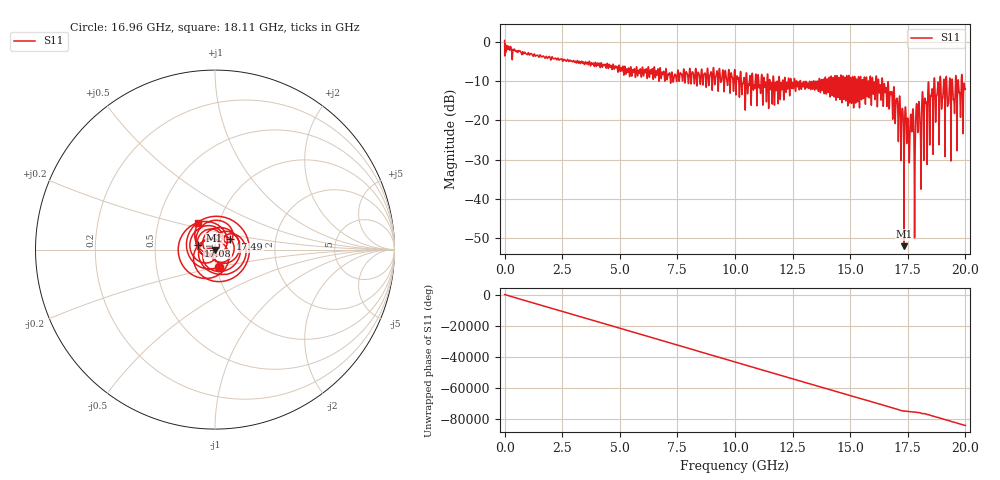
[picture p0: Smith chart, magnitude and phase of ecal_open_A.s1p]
! MS46122B
! 2250307/22442219
! 7/21/2025 12:02:15 PM
! C:\USERS\SPARKY\DOCUMENTS\VNA_DATA\JULY21_2025\295K\ECAL_OPEN_A.S1P
! CHANNEL.1
! TR.MEASUREMENT
! RAW.DATA
# GHZ S RI R 50.0
! FREQ.GHZ  S11RE  S11IM
!; PortSelection: Port_1
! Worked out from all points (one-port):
!   10001 points, 1 MHz to 20 GHz, reference 50 ohm
!   lowest |S11| = -52.1 dB at 17.34 GHz (marker M1), VSWR 1.00, Z = 49.8 - j0.13 ohm
!   |S11| at or under -10 dB: 12.84 GHz to 13.4 GHz (564.1 MHz wide, 4.3 % of centre); 16.4 GHz to 18.64 GHz (2.234 GHz wide, 12.8 % of centre); 18.67 GHz to 18.89 GHz (223.1 MHz wide, 1.19 % of centre) (the widest 3 of 87)
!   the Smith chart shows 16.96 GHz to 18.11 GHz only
!   S11 on the Smith chart (normalised r, x): 16.96 GHz: 1.03, -0.20; 17.08 GHz: 0.83, +0.04; 17.49 GHz: 1.18, +0.14; 18.11 GHz: 0.80, +0.24
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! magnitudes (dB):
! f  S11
! 1 MHz  0.4
! 2.501 GHz  -4.5
! 5.001 GHz  -7.0
! 7.501 GHz  -8.0
! 10 GHz  -7.4
! 12.5 GHz  -10.3
! 15 GHz  -11.3
! 16.31 GHz  -11.1
! 16.96 GHz  -20.1
! 17.08 GHz  -20.3
! 17.22 GHz  -25.3
! 17.27 GHz  -17.0
! 17.34 GHz  -52.1
! 17.49 GHz  -19.7
! 17.5 GHz  -19.4
! 17.68 GHz  -22.8
! 17.73 GHz  -17.5
! 17.85 GHz  -18.3
! 17.94 GHz  -22.4
! 18.11 GHz  -15.1
! 18.2 GHz  -22.8
! 18.27 GHz  -15.3
! 18.32 GHz  -18.4
! 18.53 GHz  -13.4
! 18.73 GHz  -15.5
! 19.45 GHz  -12.2
! 19.51 GHz  -14.9
! 20 GHz  -12.0
